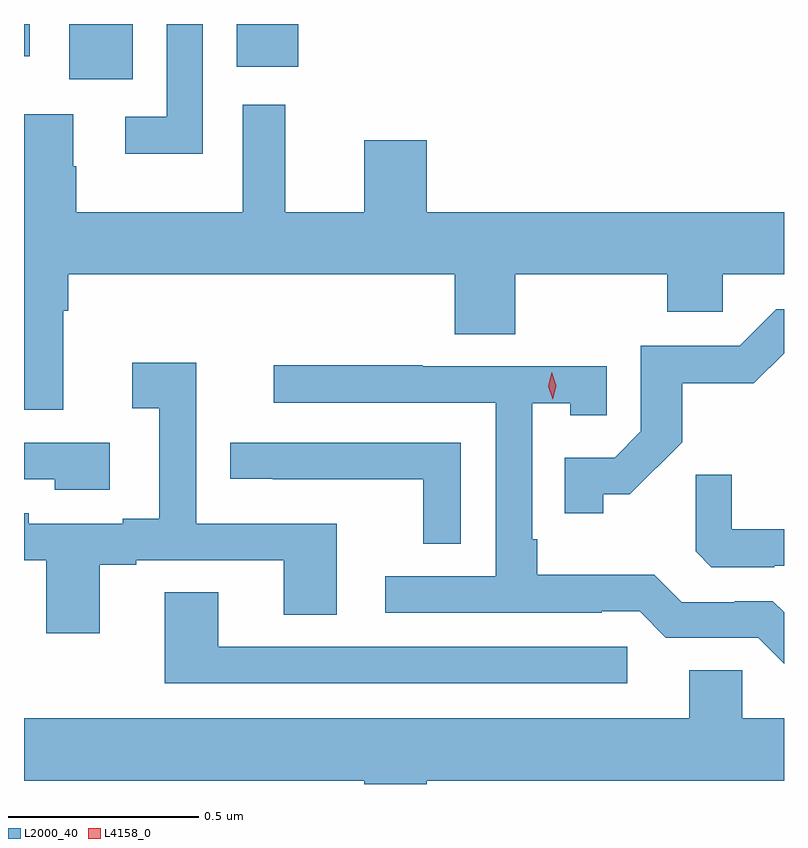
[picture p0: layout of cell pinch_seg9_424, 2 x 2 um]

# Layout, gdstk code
import gdstk
lib = gdstk.Library(unit=1e-6, precision=1e-09)
def R(c, l, rs):  # rectangles x0, y0, x1, y1
    for r in rs: c.add(gdstk.rectangle(r[:2], r[2:], *l))
def P(c, l, *ps):  # polygons
    for p in ps: c.add(gdstk.Polygon(p, *l))
L2000_40 = (2000, 40)
L4158_0 = (4158, 0)

pinch_seg9_424 = lib.new_cell('pinch_seg9_424')
R(pinch_seg9_424, L2000_40, [(368.027,1211.586,368.194,1211.731), (368.468,1211.619,368.63,1211.731), (367.908,1211.646,367.923,1211.731)])
P(pinch_seg9_424, L2000_40, [(368.379,1211.731),(368.283,1211.731),(368.283,1211.487),(368.175,1211.487),(368.175,1211.39),(368.379,1211.39)],
  [(368.968,1211.425),(368.804,1211.425),(368.804,1211.236),(368.596,1211.236),(368.596,1211.518),(368.483,1211.518),(368.483,1211.236),(368.046,1211.236),(368.046,1211.357),(368.038,1211.357),(368.038,1211.494),(367.908,1211.494),(367.908,1210.716),(368.011,1210.716),(368.011,1210.976),(368.024,1210.976),(368.024,1211.072),(369.041,1211.072),(369.041,1210.915),(369.201,1210.915),(369.201,1211.072),(369.601,1211.072),(369.601,1210.974),(369.747,1210.974),(369.747,1211.072),(369.908,1211.072),(369.908,1211.236),(368.968,1211.236)],
  [(369.432,1210.493),(369.502,1210.493),(369.64,1210.63),(369.64,1210.786),(369.829,1210.786),(369.908,1210.865),(369.908,1210.98),(369.888,1210.98),(369.792,1210.884),(369.531,1210.884),(369.531,1210.659),(369.462,1210.59),(369.331,1210.59),(369.331,1210.443),(369.432,1210.443)],
  [(368.107,1210.308),(368.203,1210.308),(368.203,1210.32),(368.591,1210.32),(368.591,1210.177),(368.731,1210.177),(368.731,1210.416),(368.361,1210.416),(368.361,1210.84),(368.193,1210.84),(368.193,1210.72),(368.264,1210.72),(368.264,1210.429),(368.168,1210.429),(368.168,1210.416),(367.92,1210.416),(367.92,1210.443),(367.908,1210.443),(367.908,1210.32),(367.967,1210.32),(367.967,1210.128),(368.107,1210.128)],
  [(369.908,1210.183),(369.879,1210.212),(369.778,1210.212),(369.778,1210.209),(369.639,1210.209),(369.566,1210.282),(369.259,1210.282),(369.259,1210.375),(369.246,1210.375),(369.246,1210.733),(369.345,1210.733),(369.345,1210.701),(369.441,1210.701),(369.441,1210.83),(368.957,1210.83),(368.957,1210.833),(368.565,1210.833),(368.565,1210.734),(369.15,1210.734),(369.15,1210.278),(368.859,1210.278),(368.859,1210.182),(369.428,1210.182),(369.428,1210.185),(369.528,1210.185),(369.597,1210.116),(369.84,1210.116),(369.908,1210.048)],
  [(368.134,1210.629),(367.908,1210.629),(367.908,1210.533),(367.989,1210.533),(367.989,1210.505),(368.134,1210.505)],
  [(369.057,1210.629),(368.451,1210.629),(368.451,1210.534),(368.563,1210.534),(368.563,1210.533),(368.959,1210.533),(368.959,1210.363),(369.057,1210.363)],
  [(369.882,1210.305),(369.908,1210.305),(369.908,1210.402),(369.77,1210.402),(369.77,1210.545),(369.676,1210.545),(369.676,1210.343),(369.717,1210.302),(369.882,1210.302)],
  [(369.496,1210.092),(368.419,1210.092),(368.419,1210.235),(368.279,1210.235),(368.279,1209.996),(369.496,1209.996)],
  [(368.968,1209.74),(369.908,1209.74),(369.908,1209.904),(369.798,1209.904),(369.798,1210.031),(369.659,1210.031),(369.659,1209.904),(367.908,1209.904),(367.908,1209.74),(368.804,1209.74),(368.804,1209.731),(368.968,1209.731)])
P(pinch_seg9_424, L4158_0, [(369.3,1210.743),(369.3,1210.743),(369.288,1210.778),(369.297,1210.814),(369.297,1210.815),(369.297,1210.814),(369.308,1210.779),(369.3,1210.743)])

lib.write_gds('pinch_seg9_424.gds')
